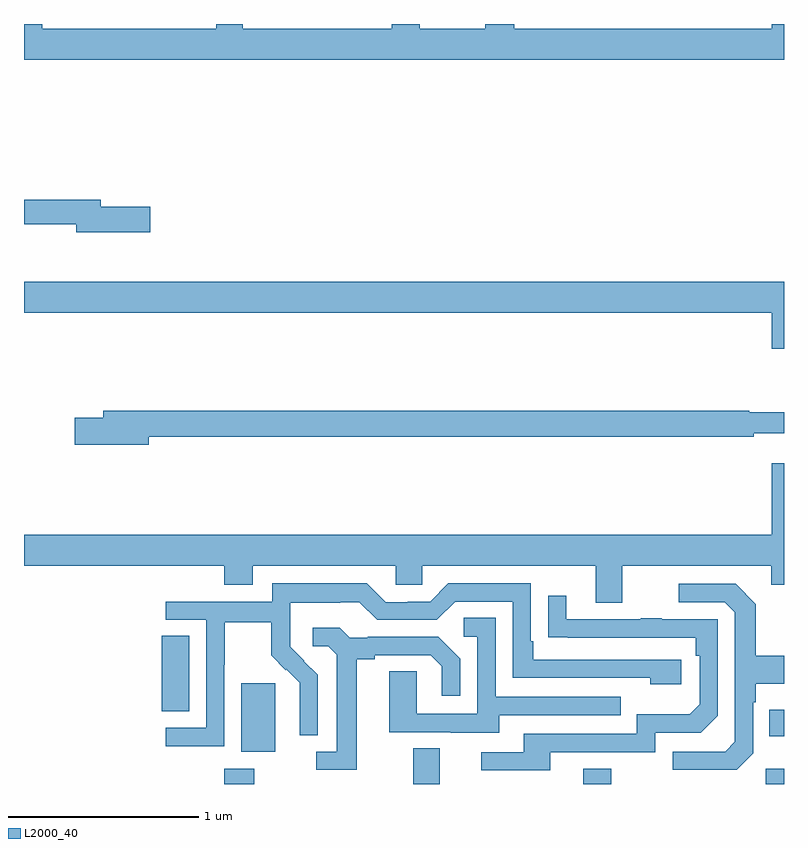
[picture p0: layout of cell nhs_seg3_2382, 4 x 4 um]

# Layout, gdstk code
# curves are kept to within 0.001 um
import gdstk
lib = gdstk.Library(unit=1e-6, precision=1e-09)
def R(c, l, rs):  # rectangles x0, y0, x1, y1
    for r in rs: c.add(gdstk.rectangle(r[:2], r[2:], *l))
def P(c, l, *ps):  # polygons
    for p in ps: c.add(gdstk.Polygon(p, *l))
L2000_40 = (2000, 40)

nhs_seg3_2382 = lib.new_cell('nhs_seg3_2382')
R(nhs_seg3_2382, L2000_40, [(234.053,734.4,234.213,734.479), (235.049,734.4,235.189,734.588), (235.943,734.4,236.091,734.479), (236.904,734.4,237,734.479), (234.143,734.57,234.322,734.931), (236.923,734.651,237,734.791), (233.726,734.782,233.869,735.179)])
P(nhs_seg3_2382, L2000_40, [(237,738.4),(236.936,738.4),(236.936,738.376),(235.58,738.376),(235.58,738.4),(235.427,738.4),(235.427,738.376),(235.083,738.376),(235.083,738.4),(234.935,738.4),(234.935,738.376),(234.151,738.376),(234.151,738.4),(234.011,738.4),(234.011,738.376),(233.097,738.376),(233.097,738.4),(233,738.4),(233,738.212),(237,738.212)],
  [(233.665,737.438),(233.404,737.438),(233.404,737.474),(233,737.474),(233,737.346),(233.276,737.346),(233.276,737.303),(233.665,737.303)],
  [(237,737.044),(233,737.044),(233,736.88),(236.936,736.88),(236.936,736.692),(237,736.692)],
  [(233.656,736.228),(236.84,736.228),(236.84,736.247),(237,736.247),(237,736.357),(236.818,736.357),(236.818,736.364),(233.417,736.364),(233.417,736.328),(233.268,736.328),(233.268,736.186),(233.656,736.186)],
  [(236.149,735.548),(236.933,735.548),(236.933,735.449),(237,735.449),(237,736.087),(236.936,736.087),(236.936,735.712),(233,735.712),(233,735.548),(234.053,735.548),(234.053,735.449),(234.205,735.449),(234.205,735.548),(234.957,735.548),(234.957,735.45),(235.095,735.45),(235.095,735.548),(236.009,735.548),(236.009,735.354),(236.149,735.354)],
  [(234.054,735.028),(234.057,735.028),(234.057,735.252),(234.301,735.252),(234.301,735.077),(234.378,735),(234.381,735.003),(234.452,734.933),(234.452,734.81),(234.45,734.81),(234.45,734.656),(234.546,734.656),(234.546,734.974),(234.4,735.122),(234.4,735.219),(234.402,735.219),(234.402,735.353),(234.665,735.353),(234.665,735.357),(234.765,735.357),(234.858,735.264),(235.173,735.264),(235.269,735.36),(235.572,735.36),(235.572,734.958),(236.297,734.958),(236.297,734.924),(236.458,734.924),(236.458,735.054),(235.681,735.054),(235.681,735.151),(235.668,735.151),(235.668,735.456),(235.233,735.456),(235.137,735.36),(235.019,735.36),(235.019,735.357),(234.903,735.357),(234.803,735.457),(234.306,735.457),(234.306,735.36),(233.745,735.36),(233.745,735.264),(233.958,735.264),(233.958,734.697),(233.745,734.697),(233.745,734.599),(234.054,734.599)],
  [(236.838,734.562),(236.838,734.831),(236.851,734.831),(236.851,734.927),(237,734.927),(237,735.075),(236.851,735.075),(236.851,735.347),(236.745,735.453),(236.445,735.453),(236.445,735.357),(236.688,735.357),(236.742,735.303),(236.742,734.622),(236.691,734.571),(236.415,734.571),(236.415,734.475),(236.751,734.475)],
  [(235.771,734.568),(236.322,734.568),(236.322,734.67),(236.562,734.67),(236.652,734.76),(236.652,735.267),(236.357,735.267),(236.357,735.272),(236.245,735.272),(236.245,735.267),(235.855,735.267),(235.855,735.391),(235.759,735.391),(235.759,735.172),(236.536,735.171),(236.536,735.074),(236.556,735.074),(236.556,734.82),(236.503,734.767),(236.226,734.767),(236.226,734.664),(235.631,734.664),(235.631,734.568),(235.407,734.568),(235.407,734.472),(235.771,734.472)],
  [(235.501,734.763),(236.141,734.763),(236.141,734.859),(235.482,734.859),(235.482,735.275),(235.314,735.275),(235.314,735.174),(235.386,735.174),(235.386,734.769),(235.068,734.769),(235.068,734.993),(234.923,734.993),(234.923,734.673),(235.247,734.673),(235.247,734.669),(235.501,734.669)],
  [(234.751,735.056),(234.847,735.056),(234.847,735.078),(235.142,735.078),(235.199,735.021),(235.199,734.865),(235.296,734.865),(235.296,735.058),(235.18,735.174),(234.808,735.174),(234.808,735.171),(234.714,735.171),(234.662,735.223),(234.519,735.223),(234.519,735.126),(234.6,735.126),(234.647,735.079),(234.647,734.571),(234.537,734.571),(234.537,734.475),(234.751,734.475)])

lib.write_gds('nhs_seg3_2382.gds')
